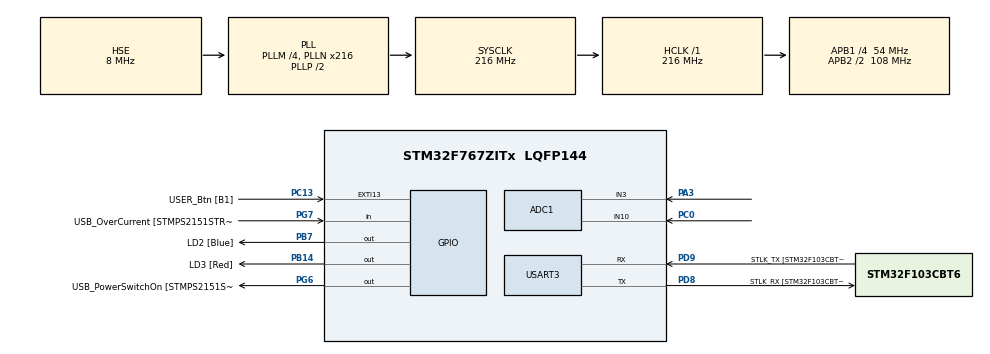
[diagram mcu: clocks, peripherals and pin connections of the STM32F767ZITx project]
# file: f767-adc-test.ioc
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ADC1.Channel-0\#ChannelRegularConversion=ADC_CHANNEL_3
ADC1.Channel-1\#ChannelRegularConversion=ADC_CHANNEL_10
ADC1.DMAContinuousRequests=ENABLE
ADC1.NbrOfConversion=2
ADC1.NbrOfConversionFlag=1
ADC1.Rank-0\#ChannelRegularConversion=1
ADC1.Rank-1\#ChannelRegularConversion=2
ADC1.SamplingTime-0\#ChannelRegularConversion=ADC_SAMPLETIME_144CYCLES
ADC1.SamplingTime-1\#ChannelRegularConversion=ADC_SAMPLETIME_144CYCLES
ADC1.ScanConvMode=ADC_SCAN_ENABLE
ADC1.master=1
Dma.ADC1.0.Direction=DMA_PERIPH_TO_MEMORY
Dma.ADC1.0.FIFOMode=DMA_FIFOMODE_DISABLE
Dma.ADC1.0.Instance=DMA2_Stream0
Dma.ADC1.0.MemDataAlignment=DMA_MDATAALIGN_HALFWORD
Dma.ADC1.0.MemInc=DMA_MINC_ENABLE
Dma.ADC1.0.Mode=DMA_CIRCULAR
Dma.ADC1.0.PeriphDataAlignment=DMA_PDATAALIGN_HALFWORD
Dma.ADC1.0.PeriphInc=DMA_PINC_DISABLE
Dma.ADC1.0.Priority=DMA_PRIORITY_LOW
Dma.Request0=ADC1
Mcu.Family=STM32F7
Mcu.Name=STM32F767ZITx
Mcu.Package=LQFP144
NVIC.ADC_IRQn=true\:0\:0\:false\:false\:true\:true\:true
NVIC.DMA2_Stream0_IRQn=true\:0\:0\:false\:false\:true\:false\:true
NVIC.PriorityGroup=NVIC_PRIORITYGROUP_4
PA13.GPIO_Label=TMS
PA13.Mode=Serial_Wire
PA13.Signal=SYS_JTMS-SWDIO
PA14.GPIO_Label=TCK
PA14.Mode=Serial_Wire
PA14.Signal=SYS_JTCK-SWCLK
PA3.Signal=ADCx_IN3
PB14.GPIO_Label=LD3 [Red]
PB14.Signal=GPIO_Output
PB7.GPIO_Label=LD2 [Blue]
PB7.Signal=GPIO_Output
PC0.Signal=ADCx_IN10
PC13.GPIO_Label=USER_Btn [B1]
PC13.Signal=GPXTI13
PC14/OSC32_IN.Mode=LSE-External-Oscillator
PC14/OSC32_IN.Signal=RCC_OSC32_IN
PC15/OSC32_OUT.Mode=LSE-External-Oscillator
PC15/OSC32_OUT.Signal=RCC_OSC32_OUT
PD8.GPIO_Label=STLK_RX [STM32F103CBT6_PA3]
PD8.Mode=Asynchronous
PD8.Signal=USART3_TX
PD9.GPIO_Label=STLK_TX [STM32F103CBT6_PA2]
PD9.Mode=Asynchronous
PD9.Signal=USART3_RX
PG6.GPIO_Label=USB_PowerSwitchOn [STMPS2151STR_EN]
PG6.Signal=GPIO_Output
PG7.GPIO_Label=USB_OverCurrent [STMPS2151STR_FAULT]
PG7.Signal=GPIO_Input
PH0/OSC_IN.GPIO_Label=MCO [STM32F103CBT6_PA8]
PH0/OSC_IN.Mode=HSE-External-Clock-Source
PH0/OSC_IN.Signal=RCC_OSC_IN
PH1/OSC_OUT.Mode=HSE-External-Clock-Source
PH1/OSC_OUT.Signal=RCC_OSC_OUT
ProjectManager.HeapSize=0x200
ProjectManager.StackSize=0x400
ProjectManager.TargetToolchain=STM32CubeIDE
RCC.48MHZClocksFreq_Value=24000000
RCC.AHBFreq_Value=216000000
RCC.APB1CLKDivider=RCC_HCLK_DIV4
RCC.APB1Freq_Value=54000000
RCC.APB1TimFreq_Value=108000000
RCC.APB2CLKDivider=RCC_HCLK_DIV2
RCC.APB2Freq_Value=108000000
RCC.APB2TimFreq_Value=216000000
RCC.CortexFreq_Value=216000000
RCC.HCLKFreq_Value=216000000
RCC.HSE_VALUE=8000000
RCC.HSI_VALUE=16000000
RCC.PLLM=4
RCC.PLLMUL=RCC_PLL_MUL9
RCC.PLLN=216
RCC.PLLQ=4
RCC.PLLSourceVirtual=RCC_PLLSOURCE_HSE
RCC.PRESCALERUSB=RCC_USBCLKSOURCE_PLL_DIV1_5
RCC.SYSCLKFreq_VALUE=216000000
RCC.SYSCLKSource=RCC_SYSCLKSOURCE_PLLCLK
RCC.SYSCLKSourceVirtual=RCC_SYSCLKSOURCE_PLLCLK
RCC.USBFreq_Value=108000000
RCC.VCOOutputFreq_Value=432000000
SH.ADCx_IN10.0=ADC1_IN10,IN10
SH.ADCx_IN3.0=ADC1_IN3,IN3
USART3.VirtualMode-Asynchronous=VM_ASYNC
board=NUCLEO-F767ZI

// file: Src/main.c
/* USER CODE BEGIN Header */
/**
  ******************************************************************************
  * @file           : main.c
  * @brief          : Main program body
  ******************************************************************************
  * @attention
  *
  * <h2><center>&copy; Copyright (c) 2019 STMicroelectronics.
  * All rights reserved.</center></h2>
  *
  * This software component is licensed by ST under BSD 3-Clause license,
  * the "License"; You may not use this file except in compliance with the
  * License. You may obtain a copy of the License at:
  *                        opensource.org/licenses/BSD-3-Clause
  *
  ******************************************************************************
  */
/* USER CODE END Header */

#include "main.h"

/* USER CODE BEGIN Includes */
#include <stdio.h>
#include <string.h>
/* USER CODE END Includes */

ADC_HandleTypeDef hadc1;
DMA_HandleTypeDef hdma_adc1;

UART_HandleTypeDef huart3;

/* USER CODE BEGIN PV */
#define BUFF_SIZE 100
uint8_t convEnd = 0;			//conv end flag

uint16_t adcBuff[BUFF_SIZE] = {0};		//to store converted values
uint16_t adcData[BUFF_SIZE] = {0};		//to use as a second buffer
/* USER CODE END PV */

void SystemClock_Config(void);
static void MX_GPIO_Init(void);
static void MX_DMA_Init(void);
static void MX_ADC1_Init(void);
static void MX_USART3_UART_Init(void);
/* USER CODE BEGIN PFP */
void HAL_ADC_ConvCpltCallback(ADC_HandleTypeDef* hadc)
{
	if(hadc == &hadc1)								//check which adc made interrupt
	{
		for(int i = 0; i < BUFF_SIZE; i++)
		{
			adcData[i] = adcBuff[i];				//copy data to second buffer
		}
		convEnd = 1;								//set conv end flag
	}
}
/* USER CODE END PFP */

int main(void)
{

  /* MCU Configuration--------------------------------------------------------*/

  /* Reset of all peripherals, Initializes the Flash interface and the Systick. */
  HAL_Init();

  /* Configure the system clock */
  SystemClock_Config();

  /* Initialize all configured peripherals */
  MX_GPIO_Init();
  MX_DMA_Init();
  MX_ADC1_Init();
  MX_USART3_UART_Init();
  /* USER CODE BEGIN 2 */
  HAL_ADC_Start_DMA(&hadc1, (uint32_t *)adcBuff, BUFF_SIZE);			//start ADC conversation
  /* USER CODE END 2 */

  /* Infinite loop */
  /* USER CODE BEGIN WHILE */
  while (1)
  {
	  if(convEnd == 1)					//check is conv completed
	  {
		  char txt[30];
		  sprintf(txt, "ADC Val: %d %d\n\r", adcData[0], adcData[1]);			//print value in a text
		  HAL_UART_Transmit(&huart3, (uint8_t *)txt, strlen(txt), 100);		//send text over UART
		  HAL_Delay(500);									//wait 100ms
		  convEnd = 0;
	  }
    /* USER CODE END WHILE */

  }
}

void SystemClock_Config(void)
{
  RCC_OscInitTypeDef RCC_OscInitStruct = {0};
  RCC_ClkInitTypeDef RCC_ClkInitStruct = {0};
  RCC_PeriphCLKInitTypeDef PeriphClkInitStruct = {0};

  /** Configure LSE Drive Capability
  */
  HAL_PWR_EnableBkUpAccess();
  /** Configure the main internal regulator output voltage
  */
  __HAL_RCC_PWR_CLK_ENABLE();
  __HAL_PWR_VOLTAGESCALING_CONFIG(PWR_REGULATOR_VOLTAGE_SCALE1);
  /** Initializes the CPU, AHB and APB busses clocks
  */
  RCC_OscInitStruct.OscillatorType = RCC_OSCILLATORTYPE_HSE;
  RCC_OscInitStruct.HSEState = RCC_HSE_BYPASS;
  RCC_OscInitStruct.PLL.PLLState = RCC_PLL_ON;
  RCC_OscInitStruct.PLL.PLLSource = RCC_PLLSOURCE_HSE;
  RCC_OscInitStruct.PLL.PLLM = 4;
  RCC_OscInitStruct.PLL.PLLN = 216;
  RCC_OscInitStruct.PLL.PLLP = RCC_PLLP_DIV2;
  RCC_OscInitStruct.PLL.PLLQ = 4;
  if (HAL_RCC_OscConfig(&RCC_OscInitStruct) != HAL_OK)
  {
    Error_Handler();
  }
  /** Activate the Over-Drive mode
  */
  if (HAL_PWREx_EnableOverDrive() != HAL_OK)
  {
    Error_Handler();
  }
  /** Initializes the CPU, AHB and APB busses clocks
  */
  RCC_ClkInitStruct.ClockType = RCC_CLOCKTYPE_HCLK|RCC_CLOCKTYPE_SYSCLK
                              |RCC_CLOCKTYPE_PCLK1|RCC_CLOCKTYPE_PCLK2;
  RCC_ClkInitStruct.SYSCLKSource = RCC_SYSCLKSOURCE_PLLCLK;
  RCC_ClkInitStruct.AHBCLKDivider = RCC_SYSCLK_DIV1;
  RCC_ClkInitStruct.APB1CLKDivider = RCC_HCLK_DIV4;
  RCC_ClkInitStruct.APB2CLKDivider = RCC_HCLK_DIV2;

  if (HAL_RCC_ClockConfig(&RCC_ClkInitStruct, FLASH_LATENCY_7) != HAL_OK)
  {
    Error_Handler();
  }
  PeriphClkInitStruct.PeriphClockSelection = RCC_PERIPHCLK_USART3;
  PeriphClkInitStruct.Usart3ClockSelection = RCC_USART3CLKSOURCE_PCLK1;
  if (HAL_RCCEx_PeriphCLKConfig(&PeriphClkInitStruct) != HAL_OK)
  {
    Error_Handler();
  }
}

static void MX_ADC1_Init(void)
{

  ADC_ChannelConfTypeDef sConfig = {0};

  /** Configure the global features of the ADC (Clock, Resolution, Data Alignment and number of conversion)
  */
  hadc1.Instance = ADC1;
  hadc1.Init.ClockPrescaler = ADC_CLOCK_SYNC_PCLK_DIV4;
  hadc1.Init.Resolution = ADC_RESOLUTION_12B;
  hadc1.Init.ScanConvMode = ADC_SCAN_ENABLE;
  hadc1.Init.ContinuousConvMode = ENABLE;
  hadc1.Init.DiscontinuousConvMode = DISABLE;
  hadc1.Init.ExternalTrigConvEdge = ADC_EXTERNALTRIGCONVEDGE_NONE;
  hadc1.Init.ExternalTrigConv = ADC_SOFTWARE_START;
  hadc1.Init.DataAlign = ADC_DATAALIGN_RIGHT;
  hadc1.Init.NbrOfConversion = 2;
  hadc1.Init.DMAContinuousRequests = ENABLE;
  hadc1.Init.EOCSelection = ADC_EOC_SINGLE_CONV;
  if (HAL_ADC_Init(&hadc1) != HAL_OK)
  {
    Error_Handler();
  }
  /** Configure for the selected ADC regular channel its corresponding rank in the sequencer and its sample time.
  */
  sConfig.Channel = ADC_CHANNEL_3;
  sConfig.Rank = ADC_REGULAR_RANK_1;
  sConfig.SamplingTime = ADC_SAMPLETIME_144CYCLES;
  if (HAL_ADC_ConfigChannel(&hadc1, &sConfig) != HAL_OK)
  {
    Error_Handler();
  }
  /** Configure for the selected ADC regular channel its corresponding rank in the sequencer and its sample time.
  */
  sConfig.Channel = ADC_CHANNEL_10;
  sConfig.Rank = ADC_REGULAR_RANK_2;
  if (HAL_ADC_ConfigChannel(&hadc1, &sConfig) != HAL_OK)
  {
    Error_Handler();
  }

}

static void MX_USART3_UART_Init(void)
{

  huart3.Instance = USART3;
  huart3.Init.BaudRate = 115200;
  huart3.Init.WordLength = UART_WORDLENGTH_8B;
  huart3.Init.StopBits = UART_STOPBITS_1;
  huart3.Init.Parity = UART_PARITY_NONE;
  huart3.Init.Mode = UART_MODE_TX_RX;
  huart3.Init.HwFlowCtl = UART_HWCONTROL_NONE;
  huart3.Init.OverSampling = UART_OVERSAMPLING_16;
  huart3.Init.OneBitSampling = UART_ONE_BIT_SAMPLE_DISABLE;
  huart3.AdvancedInit.AdvFeatureInit = UART_ADVFEATURE_NO_INIT;
  if (HAL_UART_Init(&huart3) != HAL_OK)
  {
    Error_Handler();
  }

}

static void MX_DMA_Init(void)
{

  /* DMA controller clock enable */
  __HAL_RCC_DMA2_CLK_ENABLE();

  /* DMA interrupt init */
  /* DMA2_Stream0_IRQn interrupt configuration */
  HAL_NVIC_SetPriority(DMA2_Stream0_IRQn, 0, 0);
  HAL_NVIC_EnableIRQ(DMA2_Stream0_IRQn);

}

static void MX_GPIO_Init(void)
{
  GPIO_InitTypeDef GPIO_InitStruct = {0};

  /* GPIO Ports Clock Enable */
  __HAL_RCC_GPIOC_CLK_ENABLE();
  __HAL_RCC_GPIOH_CLK_ENABLE();
  __HAL_RCC_GPIOA_CLK_ENABLE();
  __HAL_RCC_GPIOB_CLK_ENABLE();
  __HAL_RCC_GPIOD_CLK_ENABLE();
  __HAL_RCC_GPIOG_CLK_ENABLE();

  /*Configure GPIO pin Output Level */
  HAL_GPIO_WritePin(GPIOB, LD3_Pin|LD2_Pin, GPIO_PIN_RESET);

  /*Configure GPIO pin Output Level */
  HAL_GPIO_WritePin(USB_PowerSwitchOn_GPIO_Port, USB_PowerSwitchOn_Pin, GPIO_PIN_RESET);

  /*Configure GPIO pin : USER_Btn_Pin */
  GPIO_InitStruct.Pin = USER_Btn_Pin;
  GPIO_InitStruct.Mode = GPIO_MODE_IT_RISING;
  GPIO_InitStruct.Pull = GPIO_NOPULL;
  HAL_GPIO_Init(USER_Btn_GPIO_Port, &GPIO_InitStruct);

  /*Configure GPIO pins : LD3_Pin LD2_Pin */
  GPIO_InitStruct.Pin = LD3_Pin|LD2_Pin;
  GPIO_InitStruct.Mode = GPIO_MODE_OUTPUT_PP;
  GPIO_InitStruct.Pull = GPIO_NOPULL;
  GPIO_InitStruct.Speed = GPIO_SPEED_FREQ_LOW;
  HAL_GPIO_Init(GPIOB, &GPIO_InitStruct);

  /*Configure GPIO pin : USB_PowerSwitchOn_Pin */
  GPIO_InitStruct.Pin = USB_PowerSwitchOn_Pin;
  GPIO_InitStruct.Mode = GPIO_MODE_OUTPUT_PP;
  GPIO_InitStruct.Pull = GPIO_NOPULL;
  GPIO_InitStruct.Speed = GPIO_SPEED_FREQ_LOW;
  HAL_GPIO_Init(USB_PowerSwitchOn_GPIO_Port, &GPIO_InitStruct);

  /*Configure GPIO pin : USB_OverCurrent_Pin */
  GPIO_InitStruct.Pin = USB_OverCurrent_Pin;
  GPIO_InitStruct.Mode = GPIO_MODE_INPUT;
  GPIO_InitStruct.Pull = GPIO_NOPULL;
  HAL_GPIO_Init(USB_OverCurrent_GPIO_Port, &GPIO_InitStruct);

}

void Error_Handler(void)
{
}

/************************ (C) COPYRIGHT STMicroelectronics *****END OF FILE****/
